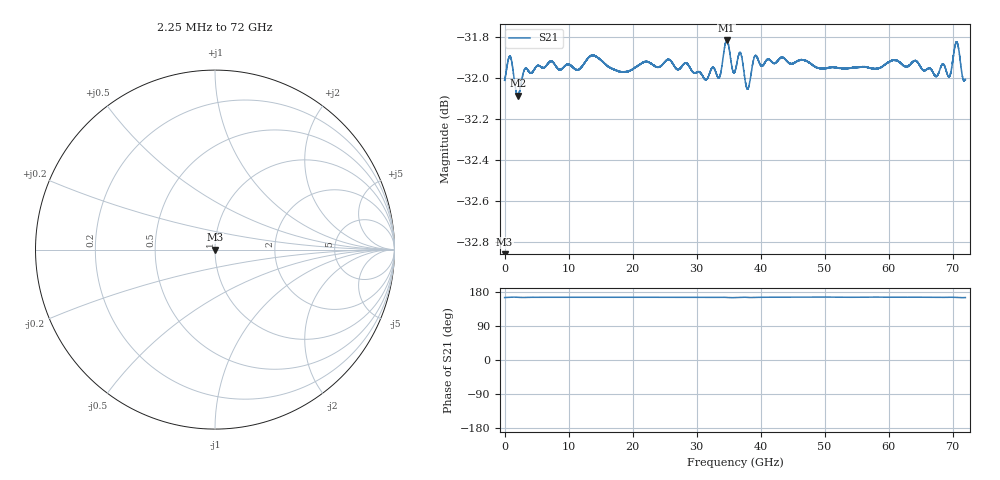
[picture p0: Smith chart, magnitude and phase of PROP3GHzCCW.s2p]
!Keysight Technologies,N5227A,US51270384,A.10.49.03
!Date: Monday, September 17, 2018 15:37:24
!Correction: S11(Off)
!S21(Off)
!S12(Off)
!S22(Off)
!S2P File: Measurements: S11, S21, S12, S22:CW Time Sweep
!CW Freq: 3315000000 Hz
# s S  RI  R 50
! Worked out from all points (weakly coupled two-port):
!   32000 points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, 2.25 MHz to 72 GHz, reference 50 ohm
!   highest |S21| = -31.82 dB at 34.69 GHz (marker M1); lowest = -32.1 dB at 2.061 GHz (marker M2)
!   lowest |S11| = - dB at 2.25 MHz (marker M3), VSWR 1.00, Z = 50 + j7.07e-09 ohm
!   |S11| at or under -10 dB: start of sweep to end of sweep
!   S12 and S22 are empty: the file has one direction only
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0.00225  7.07e-11 7.07e-11  -0.0242 0.00659  7.07e-11 7.07e-11  7.07e-11 7.07e-11
0.87975  7.07e-11 7.07e-11  -0.0246 0.00634  7.07e-11 7.07e-11  7.07e-11 7.07e-11
2.061  7.07e-11 7.07e-11  -0.0241 0.00622  7.07e-11 7.07e-11  7.07e-11 7.07e-11
3.30975  7.07e-11 7.07e-11  -0.0244 0.00648  7.07e-11 7.07e-11  7.07e-11 7.07e-11
12.00375  7.07e-11 7.07e-11  -0.0245 0.00627  7.07e-11 7.07e-11  7.07e-11 7.07e-11
13.76775  7.07e-11 7.07e-11  -0.0246 0.00629  7.07e-11 7.07e-11  7.07e-11 7.07e-11
18.0855  7.07e-11 7.07e-11  -0.0244 0.00623  7.07e-11 7.07e-11  7.07e-11 7.07e-11
24.003  7.07e-11 7.07e-11  -0.0245 0.00632  7.07e-11 7.07e-11  7.07e-11 7.07e-11
25.62975  7.07e-11 7.07e-11  -0.0246 0.00633  7.07e-11 7.07e-11  7.07e-11 7.07e-11
33.444  7.07e-11 7.07e-11  -0.0243 0.00625  7.07e-11 7.07e-11  7.07e-11 7.07e-11
34.68825  7.07e-11 7.07e-11  -0.0248 0.00658  7.07e-11 7.07e-11  7.07e-11 7.07e-11
36.00225  7.07e-11 7.07e-11  -0.0243 0.00663  7.07e-11 7.07e-11  7.07e-11 7.07e-11
36.8505  7.07e-11 7.07e-11  -0.0247 0.00631  7.07e-11 7.07e-11  7.07e-11 7.07e-11
37.9755  7.07e-11 7.07e-11  -0.0241 0.00637  7.07e-11 7.07e-11  7.07e-11 7.07e-11
39.2265  7.07e-11 7.07e-11  -0.0246 0.00651  7.07e-11 7.07e-11  7.07e-11 7.07e-11
48.0015  7.07e-11 7.07e-11  -0.0245 0.00624  7.07e-11 7.07e-11  7.07e-11 7.07e-11
60.00075  7.07e-11 7.07e-11  -0.0246 0.00628  7.07e-11 7.07e-11  7.07e-11 7.07e-11
67.39425  7.07e-11 7.07e-11  -0.0243 0.00632  7.07e-11 7.07e-11  7.07e-11 7.07e-11
68.51025  7.07e-11 7.07e-11  -0.0245 0.00641  7.07e-11 7.07e-11  7.07e-11 7.07e-11
69.417  7.07e-11 7.07e-11  -0.0243 0.00628  7.07e-11 7.07e-11  7.07e-11 7.07e-11
70.63425  7.07e-11 7.07e-11  -0.0248 0.00662  7.07e-11 7.07e-11  7.07e-11 7.07e-11
72  7.07e-11 7.07e-11  -0.0242 0.00661  7.07e-11 7.07e-11  7.07e-11 7.07e-11
